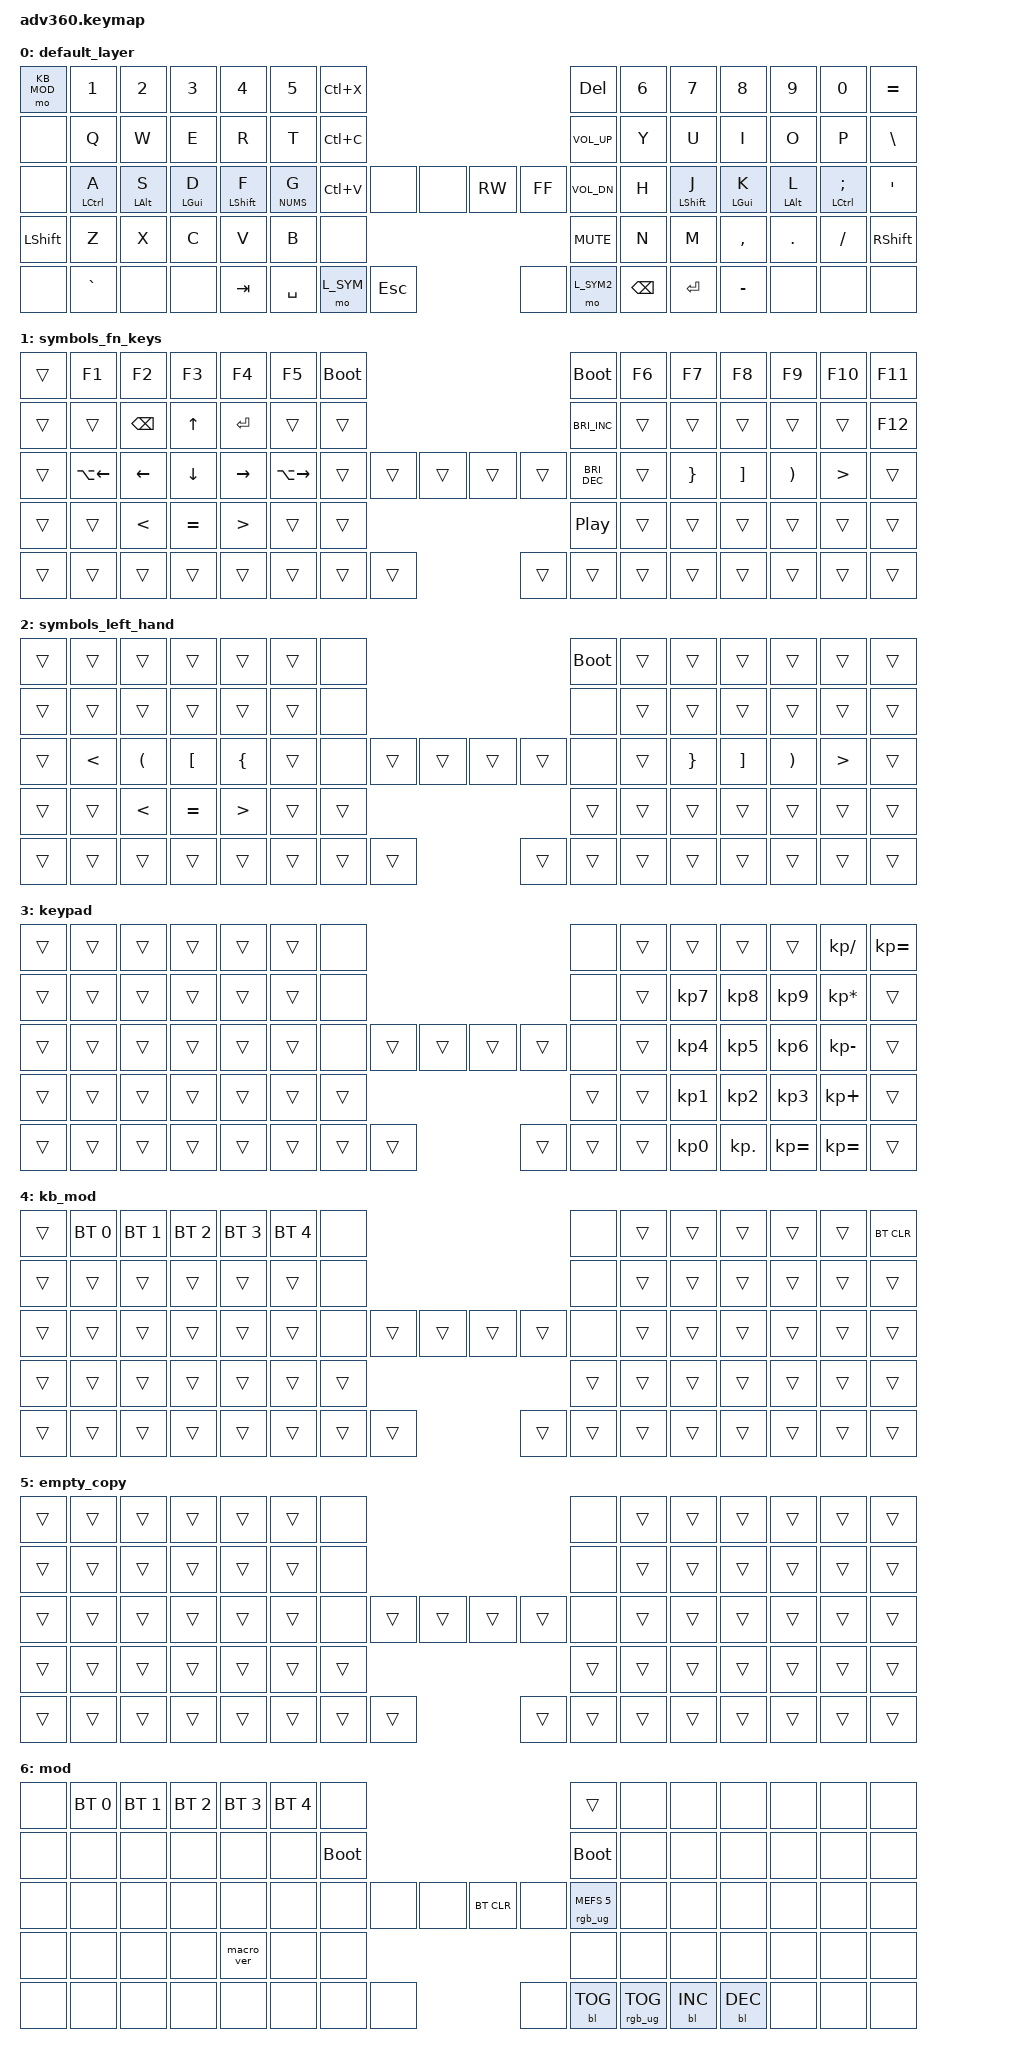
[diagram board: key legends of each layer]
#include <behaviors.dtsi>
#include <dt-bindings/zmk/keys.h>
#include <dt-bindings/zmk/bt.h>
#include <dt-bindings/zmk/rgb.h>
#include <dt-bindings/zmk/backlight.h>

#define L_DEF 0
#define L_SYM 1
#define L_SYM2 2
#define NUMS 3
#define KB_MOD 4

#define W_LEFT LA(LEFT)
#define W_RIGHT LA(RIGHT)

/ {
    behaviors {
      #include "macros.dtsi"
      #include "version.dtsi"
      #ifndef VERSION_MACRO
      macro_ver: macro_ver {
        compatible = "zmk,behavior-macro";
        label = "macro_version";
        #binding-cells = <0>;
        bindings = <&kp RET>;
      };
      #endif

      hm: homerow_mods {
          compatible = "zmk,behavior-hold-tap";
          label = "HOMEROW_MODS";
          #binding-cells = <2>;
          tapping-term-ms = <110>;
          quick_tap_ms = <175>;
          flavor = "tap-preferred";
          bindings = <&kp>, <&kp>;
      };
    };
  keymap {
    compatible = "zmk,keymap";
    default_layer {
      bindings = <
        &mo KB_MOD &kp N1      &kp N2     &kp N3      &kp N4      &kp N5     &kp LC(X)                                                  &kp DEL &kp N6 &kp N7      &kp N8      &kp N9     &kp N0        &kp EQUAL
        &none      &kp Q       &kp W      &kp E       &kp R       &kp T      &kp LC(C)                                             &kp C_VOL_UP &kp Y  &kp U       &kp I       &kp O      &kp P         &kp BSLH
        &none      &hm LCTRL A &hm LALT S &hm LGUI D  &hm LSHFT F &lt NUMS G &kp LC(V)           &none &none    &kp C_RW &kp C_FF  &kp C_VOL_DN &kp H  &hm LSHFT J &hm LGUI K  &hm LALT L &hm LCTRL SEMI &kp SQT
        &kp LSHFT  &kp Z       &kp X      &kp C       &kp V       &kp B                                &none    &kp C_MUTE                      &kp N  &kp M       &kp COMMA   &kp DOT    &kp FSLH      &kp RSHFT
        &none      &kp GRAVE   &none      &none       &kp TAB                      &kp SPACE &mo L_SYM &kp ESC  &none  &mo L_SYM2 &kp BSPC             &kp ENTER   &kp MINUS   &none      &none         &none
      >;
    };
    symbols_fn_keys {
      bindings = <
        &trans &kp F1     &kp F2   &kp F3    &kp F4    &kp F5       &bootloader                               &bootloader          &kp F6 &kp F7   &kp F8   &kp F9    &kp F10 &kp F11
        &trans &trans     &kp BSPC &kp UP    &kp ENTER &trans       &trans                                    &kp C_BRIGHTNESS_INC &trans &trans   &trans   &trans    &trans  &kp F12
        &trans &kp W_LEFT &kp LEFT &kp DOWN  &kp RIGHT &kp W_RIGHT  &trans       &trans &trans &trans &trans  &kp C_BRIGHTNESS_DEC &trans &kp RBRC &kp RBKT &kp RPAR  &kp GT  &trans
        &trans &trans     &kp LT   &kp EQUAL &kp GT    &trans                           &trans &kp C_PLAY_PAUSE                    &trans &trans   &trans   &trans    &trans  &trans
        &trans &trans     &trans   &trans    &trans                       &trans &trans &trans &trans &trans &trans                       &trans   &trans   &trans    &trans  &trans
      >;
    };
    symbols_left_hand {
      bindings = <
        &trans &trans &trans   &trans    &trans   &trans  &none                                     &bootloader &trans &trans   &trans   &trans    &trans  &trans
        &trans &trans &trans   &trans    &trans   &trans  &none                                           &none &trans &trans   &trans   &trans    &trans  &trans
        &trans &kp LT &kp LPAR &kp LBKT  &kp LBRC &trans  &none        &trans &trans &trans &trans        &none &trans &kp RBRC &kp RBKT &kp RPAR  &kp GT  &trans
        &trans &trans &kp LT   &kp EQUAL &kp GT   &trans                      &trans &trans                     &trans &trans   &trans   &trans    &trans  &trans
        &trans &trans &trans   &trans    &trans                 &trans &trans &trans &trans &trans &trans              &trans   &trans   &trans    &trans  &trans
      >;
    };
    keypad {
      bindings = <
        &trans &trans &trans   &trans   &trans   &trans  &none                                           &none &trans &trans    &trans     &trans       &kp KP_DIVIDE   &kp KP_EQUAL
        &trans &trans &trans   &trans   &trans   &trans  &none                                           &none &trans &kp KP_N7 &kp KP_N8  &kp KP_N9    &kp KP_MULTIPLY &trans
        &trans &trans &trans   &trans   &trans   &trans  &none        &trans &trans &trans &trans        &none &trans &kp KP_N4 &kp KP_N5  &kp KP_N6    &kp KP_MINUS    &trans
        &trans &trans &trans   &trans   &trans   &trans                      &trans &trans                     &trans &kp KP_N1 &kp KP_N2  &kp KP_N3    &kp KP_PLUS     &trans
        &trans &trans &trans   &trans   &trans                 &trans &trans &trans &trans &trans &trans              &kp KP_N0 &kp KP_DOT &kp KP_EQUAL &kp KP_EQUAL    &trans
      >;
    };
    kb_mod {
      bindings = <
        &trans &bt BT_SEL 0 &bt BT_SEL 1 &bt BT_SEL 2 &bt BT_SEL 3 &bt BT_SEL 4 &none                                           &none &trans &trans &trans &trans  &trans  &bt BT_CLR
        &trans &trans       &trans       &trans       &trans       &trans       &none                                           &none &trans &trans &trans &trans  &trans  &trans
        &trans &trans       &trans       &trans       &trans       &trans       &none        &trans &trans &trans &trans        &none &trans &trans &trans &trans  &trans  &trans
        &trans &trans       &trans       &trans       &trans       &trans                           &trans &trans                     &trans &trans &trans &trans  &trans  &trans
        &trans &trans       &trans       &trans       &trans                          &trans &trans &trans &trans &trans &trans              &trans &trans &trans  &trans  &trans
      >;
    };
    empty_copy {
      bindings = <
        &trans &trans &trans &trans &trans &trans  &none                                           &none &trans &trans &trans &trans  &trans  &trans
        &trans &trans &trans &trans &trans &trans  &none                                           &none &trans &trans &trans &trans  &trans  &trans
        &trans &trans &trans &trans &trans &trans  &none        &trans &trans &trans &trans        &none &trans &trans &trans &trans  &trans  &trans
        &trans &trans &trans &trans &trans &trans                      &trans &trans                     &trans &trans &trans &trans  &trans  &trans
        &trans &trans &trans &trans &trans               &trans &trans &trans &trans &trans &trans              &trans &trans &trans  &trans  &trans
      >;
    };
    mod {
      bindings = <
        &none &bt BT_SEL 0 &bt BT_SEL 1 &bt BT_SEL 2 &bt BT_SEL 3 &bt BT_SEL 4 &none                                                                     &trans                 &none        &none        &none        &none &none &none
        &none &none        &none        &none        &none        &none        &bootloader                                                               &bootloader            &none        &none        &none        &none &none &none
        &none &none        &none        &none        &none        &none        &none                   &none &none &bt BT_CLR &none                      &rgb_ug RGB_MEFS_CMD 5 &none        &none        &none        &none &none &none
        &none &none        &none        &none        &macro_ver   &none                                      &none &none                                                        &none        &none        &none        &none &none &none
        &none &none        &none        &none        &none                                       &none &none &none &none      &bl BL_TOG &rgb_ug RGB_TOG                                     &bl BL_INC   &bl BL_DEC   &none &none &none
      >;
    };
  };
};
